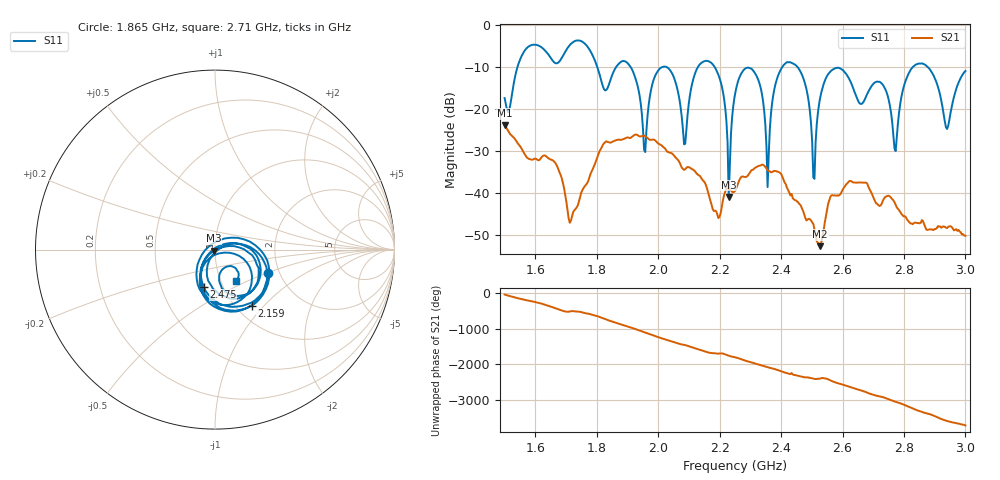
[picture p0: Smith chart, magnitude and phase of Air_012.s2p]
# HZ S RI R 50
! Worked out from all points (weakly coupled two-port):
!   404 points, 1.5 GHz to 3 GHz, reference 50 ohm
!   highest |S21| = -23.88 dB at 1.5 GHz (marker M1); lowest = -52.7 dB at 2.527 GHz (marker M2)
!   lowest |S11| = -41.0 dB at 2.23 GHz (marker M3), VSWR 1.02, Z = 49.4 - j0.629 ohm
!   |S11| at or under -10 dB: 2.183 GHz to 2.404 GHz (220.7 MHz wide, 9.62 % of centre); 2.453 GHz to 2.829 GHz (376.1 MHz wide, 14.2 % of centre); 2.877 GHz to end of sweep (the widest 3 of 7)
!   S12 and S22 are empty: the file has one direction only
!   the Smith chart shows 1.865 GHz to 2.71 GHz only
!   S11 on the Smith chart (normalised r, x): 1.865 GHz: 1.74, -0.51; 2.159 GHz: 1.18, -0.85; 2.475 GHz: 0.81, -0.35; 2.71 GHz: 1.18, -0.43
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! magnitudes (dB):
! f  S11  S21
! 1.5 GHz  -17.4  -23.9
! 1.753 GHz  -4.0  -39.4
! 1.865 GHz  -9.8  -27.4
! 1.958 GHz  -30.3  -26.5
! 2.002 GHz  -10.6  -28.4
! 2.084 GHz  -28.5  -34.5
! 2.159 GHz  -8.6  -38.9
! 2.23 GHz  -41.0  -39.0
! 2.252 GHz  -15.9  -39.3
! 2.315 GHz  -11.5  -34.1
! 2.356 GHz  -38.6  -34.6
! 2.401 GHz  -10.4  -35.6
! 2.475 GHz  -13.3  -45.2
! 2.501 GHz  -27.8  -47.1
! 2.527 GHz  -17.4  -52.7
! 2.62 GHz  -12.7  -37.3
! 2.71 GHz  -13.6  -42.5
! 2.751 GHz  -17.9  -40.7
! 2.773 GHz  -30.1  -42.9
! 2.862 GHz  -9.3  -46.8
! 2.94 GHz  -24.8  -48.4
! 3 GHz  -11.0  -50.2
